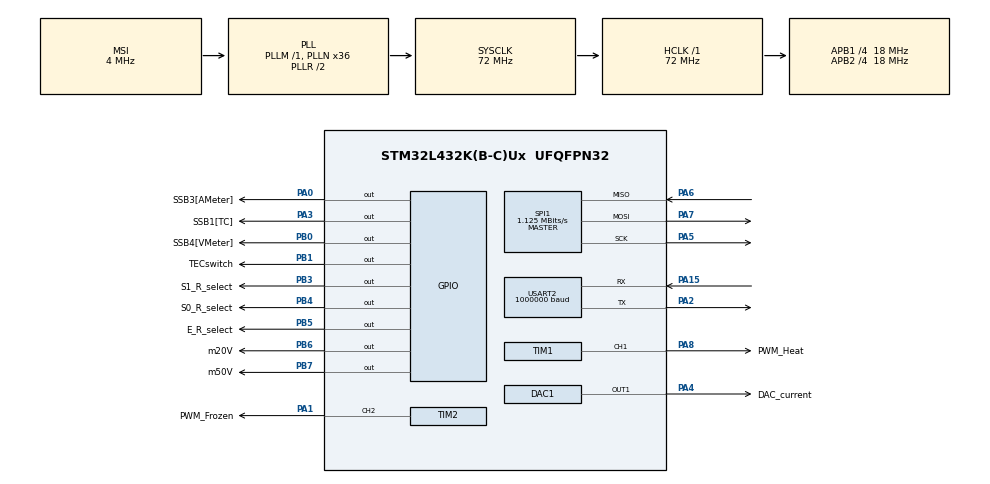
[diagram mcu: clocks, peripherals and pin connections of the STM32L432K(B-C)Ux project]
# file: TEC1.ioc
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Mcu.Family=STM32L4
PA6.Mode=Full_Duplex_Master
RCC.CortexFreq_Value=72000000
SPI1.VirtualType=VM_MASTER
NVIC.TIM6_DAC_IRQn=true\:0\:0\:false\:false\:true\:true\:true
Dma.USART2_TX.1.MemInc=DMA_MINC_ENABLE
PA0.PinState=GPIO_PIN_SET
PA0.GPIO_Label=SSB3[AMeter]
PB0.GPIO_Label=SSB4[VMeter]
PB6.GPIO_Label=m20V
PB4\ (NJTRST).GPIO_Speed=GPIO_SPEED_FREQ_MEDIUM
PA15\ (JTDI).Signal=USART2_RX
TIM1.Pulse-PWM\ Generation1\ CH1=0
PC15-OSC32_OUT\ (PC15).Mode=LSE-External-Oscillator
TIM1.OCFastMode_PWM-PWM\ Generation1\ CH1=TIM_OCFAST_DISABLE
TIM2.Channel-PWM\ Generation2\ CH2=TIM_CHANNEL_2
PA3.GPIO_Speed=GPIO_SPEED_FREQ_HIGH
RCC.SYSCLKSource=RCC_SYSCLKSOURCE_PLLCLK
ProjectManager.StackSize=0x400
PB3\ (JTDO-TRACESWO).Signal=GPIO_Output
PC14-OSC32_IN\ (PC14).Mode=LSE-External-Oscillator
PA14\ (JTCK-SWCLK).Signal=SYS_JTCK-SWCLK
VP_TIM7_VS_ClockSourceINT.Mode=Enable_Timer
PA15\ (JTDI).Mode=Asynchronous
TIM1.Prescaler=61
PB0.PinState=GPIO_PIN_SET
Dma.USART2_RX.0.Priority=DMA_PRIORITY_MEDIUM
SPI1.Direction=SPI_DIRECTION_2LINES
Dma.USART2_RX.0.PeriphDataAlignment=DMA_PDATAALIGN_BYTE
RCC.HCLKFreq_Value=72000000
RCC.APB2TimFreq_Value=36000000
PB6.Signal=GPIO_Output
Dma.USART2_TX.1.Mode=DMA_NORMAL
SPI1.CalculateBaudRate=1.125 MBits/s
TIM7.Period=9999
RCC.AHBFreq_Value=72000000
RCC.HSE_VALUE=8000000
USART2.VirtualMode-Asynchronous=VM_ASYNC
RCC.PLLMUL=RCC_PLLMUL_4
Dma.USART2_RX.0.MemDataAlignment=DMA_MDATAALIGN_BYTE
TIM1.Channel-PWM\ Generation1\ CH1=TIM_CHANNEL_1
PB1.GPIO_Speed=GPIO_SPEED_FREQ_HIGH
Dma.USART2_TX.1.Instance=DMA1_Channel7
PB1.GPIO_Label=TECswitch
SPI1.DataSize=SPI_DATASIZE_8BIT
Dma.USART2_RX.0.Instance=DMA1_Channel6
PB7.Signal=GPIO_Output
PA8.Signal=S_TIM1_CH1
SPI1.FirstBit=SPI_FIRSTBIT_MSB
VP_TIM1_VS_ClockSourceINT.Mode=Internal
PA0.Signal=GPIO_Output
PB7.GPIO_Label=m50V
Mcu.Package=UFQFPN32
TIM2.Prescaler=61
PB1.Signal=GPIO_Output
PA6.Signal=SPI1_MISO
Dma.USART2_RX.0.PeriphInc=DMA_PINC_DISABLE
TIM7.AutoReloadPreload=TIM_AUTORELOAD_PRELOAD_ENABLE
TIM2.Pulse-PWM\ Generation2\ CH2=0
PB5.GPIO_Speed=GPIO_SPEED_FREQ_MEDIUM
RCC.APB2CLKDivider=RCC_HCLK_DIV4
PB5.GPIO_Label=E_R_select
Dma.Request1=USART2_TX
RCC.APB1TimFreq_Value=36000000
TIM1.Period=1023
PA13\ (JTMS-SWDIO).Signal=SYS_JTMS-SWDIO
Dma.Request0=USART2_RX
SPI1.BaudRatePrescaler=SPI_BAUDRATEPRESCALER_16
PA4.GPIO_Label=DAC_current
NVIC.TIM7_IRQn=true\:0\:0\:false\:false\:true\:true\:true
RCC.HSI48_VALUE=48000000
PA3.Signal=GPIO_Output
PA5.Mode=Full_Duplex_Master
PB7.GPIO_Speed=GPIO_SPEED_FREQ_MEDIUM
RCC.MSI_VALUE=4000000
PA14\ (JTCK-SWCLK).Mode=Serial_Wire
NVIC.DMA1_Channel6_IRQn=true\:0\:0\:false\:false\:true\:false\:true
Dma.USART2_TX.1.Priority=DMA_PRIORITY_MEDIUM
PA7.Mode=Full_Duplex_Master
Dma.USART2_RX.0.Direction=DMA_PERIPH_TO_MEMORY
PC15-OSC32_OUT\ (PC15).Signal=RCC_OSC32_OUT
PA14\ (JTCK-SWCLK).GPIO_Label=SWCLK
PB3\ (JTDO-TRACESWO).GPIO_Label=S1_R_select
RCC.APB1CLKDivider=RCC_HCLK_DIV4
Dma.USART2_TX.1.PeriphDataAlignment=DMA_PDATAALIGN_BYTE
NVIC.USART2_IRQn=true\:0\:0\:false\:false\:true\:true\:true
USART2.BaudRate=1000000
Dma.USART2_RX.0.Mode=DMA_NORMAL
PB0.GPIO_Speed=GPIO_SPEED_FREQ_HIGH
PA0.GPIO_Speed=GPIO_SPEED_FREQ_HIGH
RCC.HSI16_VALUE=16000000
SH.S_TIM2_CH2.0=TIM2_CH2,PWM Generation2 CH2
PA8.GPIO_Label=PWM_Heat
SH.S_TIM1_CH1.0=TIM1_CH1,PWM Generation1 CH1
ProjectManager.TargetToolchain=STM32CubeIDE
SH.COMP_DAC11_group.0=DAC1_OUT1,DAC_OUT1
PA1.Signal=S_TIM2_CH2
PA5.Signal=SPI1_SCK
Dma.USART2_TX.1.PeriphInc=DMA_PINC_DISABLE
TIM7.Prescaler=359
board=NUCLEO-L432KC
RCC.VCOOutputFreq_Value=144000000
NVIC.SPI1_IRQn=true\:0\:0\:false\:false\:true\:true\:true
Dma.USART2_TX.1.Direction=DMA_MEMORY_TO_PERIPH
RCC.APB2Freq_Value=18000000
PA13\ (JTMS-SWDIO).GPIO_Label=SWDIO
VP_TIM2_VS_ClockSourceINT.Mode=Internal
SPI1.Mode=SPI_MODE_MASTER
PA1.GPIO_Label=PWM_Frozen
TIM2.Period=1023
Mcu.Name=STM32L432K(B-C)Ux
Dma.USART2_RX.0.MemInc=DMA_MINC_ENABLE
SPI1.NSSPMode=SPI_NSS_PULSE_DISABLE
PA2.Signal=USART2_TX
PA13\ (JTMS-SWDIO).Mode=Serial_Wire
PA4.Signal=COMP_DAC11_group
RCC.SYSCLKFreq_VALUE=72000000
PB5.Signal=GPIO_Output
PC14-OSC32_IN\ (PC14).Signal=RCC_OSC32_IN
ProjectManager.HeapSize=0x200
RCC.HSI_VALUE=16000000
NVIC.PriorityGroup=NVIC_PRIORITYGROUP_4
RCC.PLLN=36
PA2.Mode=Asynchronous
TIM2.OCFastMode_PWM-PWM\ Generation2\ CH2=TIM_OCFAST_DISABLE
PA3.PinState=GPIO_PIN_SET
NVIC.DMA1_Channel7_IRQn=true\:0\:0\:false\:false\:true\:false\:true
PB4\ (NJTRST).GPIO_Label=S0_R_select
PB3\ (JTDO-TRACESWO).GPIO_Speed=GPIO_SPEED_FREQ_MEDIUM
Dma.USART2_TX.1.MemDataAlignment=DMA_MDATAALIGN_BYTE
PB6.GPIO_Speed=GPIO_SPEED_FREQ_MEDIUM
RCC.APB1Freq_Value=18000000
PB0.Signal=GPIO_Output
PA3.GPIO_Label=SSB1[TC]
PA7.Signal=SPI1_MOSI
PB4\ (NJTRST).Signal=GPIO_Output

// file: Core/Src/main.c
/* USER CODE BEGIN Header */
/**
  ******************************************************************************
  * @file           : main.c
  * @brief          : Main program body
  ******************************************************************************
  * @attention
  *
  * <h2><center>&copy; Copyright (c) 2021 STMicroelectronics.
  * All rights reserved.</center></h2>
  *
  * This software component is licensed by ST under BSD 3-Clause license,
  * the "License"; You may not use this file except in compliance with the
  * License. You may obtain a copy of the License at:
  *                        opensource.org/licenses/BSD-3-Clause
  *
  ******************************************************************************
  *Author: 		Andrey Tsymbalyuk aka Oerdna, 2021
  *Email: 		tsymbalyuk.andrej@yandex.ru
  *Education: 	Saint Petersburg Electrotechnical University "LETI"
  ******************************************************************************
  */
/* USER CODE END Header */
#include "main.h"

/* USER CODE BEGIN Includes */
#include <stdio.h>
/* USER CODE END Includes */

/* USER CODE BEGIN PD */
#define MIN_PWM_VALUE	0
#define MAX_PWM_VALUE 	900

#define SIZE_OF_RX_BUFFER 	4
#define SIZE_OF_TX_BUFFER 	32
/* USER CODE END PD */

DAC_HandleTypeDef hdac1;

SPI_HandleTypeDef hspi1;

TIM_HandleTypeDef htim1;
TIM_HandleTypeDef htim2;
TIM_HandleTypeDef htim7;

UART_HandleTypeDef huart2;
DMA_HandleTypeDef hdma_usart2_rx;
DMA_HandleTypeDef hdma_usart2_tx;

/* USER CODE BEGIN PV */
volatile uint8_t event_TEC;
volatile uint8_t event_RX;
//Communicate
volatile uint8_t str[SIZE_OF_TX_BUFFER] = {0};
volatile uint8_t rx_buffer[SIZE_OF_RX_BUFFER] = {0};
//Multiplexer
const uint16_t selectPins[2] = {S0_R_select_Pin, S1_R_select_Pin};
const uint16_t multpPins[2] = {m20V_Pin, m50V_Pin};
/* USER CODE END PV */

void SystemClock_Config(void);
static void MX_GPIO_Init(void);
static void MX_DMA_Init(void);
static void MX_DAC1_Init(void);
static void MX_SPI1_Init(void);
static void MX_TIM1_Init(void);
static void MX_TIM2_Init(void);
static void MX_USART2_UART_Init(void);
static void MX_TIM7_Init(void);
/* USER CODE BEGIN PFP */
static uint16_t MAX6675_READ_TERMO(SPI_HandleTypeDef *hspi);
static uint16_t MCP3201_READ(SPI_HandleTypeDef *hspi);
static int computePID(uint16_t input, uint16_t setpoint,
		float kp, float ki, float kd,
		int minOut, int maxOut);
static void selectMuxPin(int pins, uint16_t *s_pins);
/* USER CODE END PFP */

int main(void)
{
  /* USER CODE BEGIN 1 */

	//Measurement IV res
	uint16_t spi_mcp1;
	uint16_t spi_mcp2;
	uint8_t mode_multiplexer;
	uint8_t mode_multiplication;

	//Termo and TEC PID
	float kp = 22.84, ki = 2.25, kd = 3.38;
	int pulse_width;
	uint16_t pwm;
	uint16_t spi_termo;
	uint16_t termo_filtered;
	uint16_t termo_target = 120;

	//Event
	event_TEC = 0;
	event_RX = 0;

  /* USER CODE END 1 */

  /* MCU Configuration--------------------------------------------------------*/

  /* Reset of all peripherals, Initializes the Flash interface and the Systick. */
  HAL_Init();

  /* Configure the system clock */
  SystemClock_Config();

  /* Initialize all configured peripherals */
  MX_GPIO_Init();
  MX_DMA_Init();
  MX_DAC1_Init();
  MX_SPI1_Init();
  MX_TIM1_Init();
  MX_TIM2_Init();
  MX_USART2_UART_Init();
  MX_TIM7_Init();
  /* USER CODE BEGIN 2 */

  //Start PWM, channel 1 & 2
  HAL_TIM_PWM_Start(&htim1, TIM_CHANNEL_1);
  HAL_TIM_PWM_Start(&htim2, TIM_CHANNEL_2);

  //Set zero PWM to both channel
  __HAL_TIM_SET_COMPARE(&htim1, TIM_CHANNEL_1, 0);
  __HAL_TIM_SET_COMPARE(&htim2, TIM_CHANNEL_2, 0);

  //Disable OUTPUT channel Multiplexer's
  HAL_GPIO_WritePin(GPIOB, E_R_select_Pin, GPIO_PIN_SET);

  //Start DAC
  HAL_DAC_Start(&hdac1, DAC_CHANNEL_1);
  //Set DAC, 0V out
  HAL_DAC_SetValue(&hdac1, DAC_CHANNEL_1, DAC_ALIGN_12B_R, 0);

  //Start periodic event for TEC
  HAL_TIM_Base_Start_IT(&htim7);

  //Wait command from PC
  HAL_UART_Receive_DMA (&huart2, rx_buffer, SIZE_OF_RX_BUFFER);

  /* USER CODE END 2 */

  /* Infinite loop */
  /* USER CODE BEGIN WHILE */
  while (1)
  {
	  if (event_TEC == 2){

		  HAL_TIM_Base_Stop_IT(&htim7);
		  //Start critical section

		  //Reset event
		  event_TEC = 0;

	      HAL_GPIO_WritePin(GPIOA, SSB1_Pin, GPIO_PIN_RESET);
	      spi_termo = MAX6675_READ_TERMO(&hspi1);
	      HAL_GPIO_WritePin(GPIOA, SSB1_Pin, GPIO_PIN_SET);
	      //Low pass filter f_cut = 30 Hz
	      termo_filtered = (1 - 0.87) * termo_filtered + 0.87 * spi_termo;

	      //End critical section
	      HAL_TIM_Base_Start_IT(&htim7);

	      //Compute PID Output PWM
	      pulse_width = computePID(termo_filtered, termo_target,
	    		  kp, ki, kd,
				  -MAX_PWM_VALUE, MAX_PWM_VALUE);

	      //Set PWM value
	      if (pulse_width >= 0){
	    	  pwm = (uint16_t)pulse_width;
	    	  //Check First Frozen!
	    	  __HAL_TIM_SET_COMPARE(&htim2, TIM_CHANNEL_2, 0);
	    	  HAL_Delay(20);
	    	  __HAL_TIM_SET_COMPARE(&htim1, TIM_CHANNEL_1, pwm);
	      }
	      if (pulse_width < 0){
	    	  pwm = (uint16_t)abs(pulse_width);
	    	  //Check First Heat!
	    	  __HAL_TIM_SET_COMPARE(&htim1, TIM_CHANNEL_1, 0);
	    	  HAL_Delay(20);
	    	  __HAL_TIM_SET_COMPARE(&htim2, TIM_CHANNEL_2, pwm);
	      }
	      /*	Debug section
	      char debug[32] = {0};
	      sprintf(debug, "TC termo: %d\r\n", termo_filtered);
		  HAL_UART_Transmit(&huart2, (char*) debug, sizeof(debug),10);
		  */
	  }
	  // Receive body
	  if (event_RX == 1){
		  event_RX = 0;
	      HAL_UART_Transmit(&huart2, "Rx_OK!\r\n", sizeof("Rx_OK!\r\n"), 10);
	      HAL_Delay(1);

	      /*
	       *	Receive commands are divided into:
	       *
	       *	'1' - Enable|Disable pin PWM TEC,
	       *
	       *	'2' - Send|Set temperature,
	       *
	       *	'3' - Enable|Disable pins for measurement,
	       *
	       *	'4' - Manage measurement,
	       *
	       *	'5' - Take measurement,
	       *
	       *	'other' - Error handler;
	       */

	      switch (rx_buffer[0]){
	      	  case '1':
	      		  /*	Enable|Disable pin PWM TEC;
	      		   *	In this case available command:
	      		   *
	      		   *	'y' - ENABLE PID Termo control,
	      		   *		CALLED by the 2 byte in Receive array,
	      		   *		SET PIN TECswitch_Pin,
	      		   *		RETURN COMPLETE Response - 'TEC_PIN_SET';
	      		   *
	      		   *	'n' - DISABLE PID Termo control,
	      		   *		CALLED by the 2 byte in Receive array,
	      		   *		RESET PIN TECswitch_Pin,
	      		   *		RETURN COMPLETE Response - 'TEC_PIN_RESET';
	      		   *
	      		   *	'r' - READ and SEND PWM value,
	      		   *		CALLED by the 3 byte in Receive array,
	      		   *		RETURN PWM_TEC 'dddd',
		    	   * 		dddd - value of width of PWM in ASCII,
		    	   * 		It CALL immediately after switch Termo control;
	      		   */
		    	  if (rx_buffer[1] == 'y'){
		    		  HAL_GPIO_WritePin(GPIOB, TECswitch_Pin, GPIO_PIN_SET);
		    		  HAL_UART_Transmit(&huart2, "TEC_PIN: SET\r\n", sizeof("TEC_PIN: SET\r\n"),10);
		    	  } else if (rx_buffer[1] == 'n'){
		    		  HAL_GPIO_WritePin(GPIOB, TECswitch_Pin, GPIO_PIN_RESET);
		    		  HAL_UART_Transmit(&huart2, "TEC_PIN: RESET\r\n", sizeof("TEC_PIN: RESET\r\n"),10);
		    	  }
		    	  if (rx_buffer[2] == 'r'){
		    		  memset(str, 0, sizeof(str));
		    		  sprintf(str, "PWM_TEC: %d\r\n", pulse_width);
		    		  HAL_UART_Transmit(&huart2, str, sizeof(str),10);
		    	  }
		    	  break;

	      	  case '2':
		    	  /*	Send|Set temperature;
		    	   * 	In this case available command:
		    	   *
		    	   * 	'r' - READ and SEND termo value,
		    	   * 		CALLED by the 2 byte in Receive array
		    	   * 		RETURN TC_Termo 'ddd',
		    	   * 		ddd - raw temperature from sensor MAX6675 in ASCII,
		    	   * 		CONVERT ddd to celsius: T celsius  = ddd/4;
		    	   *
		    	   * 	'c' - SET termo_target from COM console (aka PuTTy i.e.),
		    	   * 		CALLED by the 2 byte in Receive array
		    	   * 		SET by the last 2 ASCII byte converted to int,
		    	   * 		RECEIVE in CELSIUS M + L BYTE in ASCII,
		    	   * 		RANGE in Celsius: 1 : 95,
		    	   * 		RETURN COMPLETE Response - TC_set,
		    	   * 		Exmpl: receive 0x'2' 'c' '3' '0' - set target 30 celsius;
		    	   *
		    	   * 	'x' - SET termp_targe by any other methods (Python i.e.),
		    	   * 		CALLED by the 2 byte in Receive array
		    	   * 		SET by the uint16_t,
		    	   * 		RECEIVE in RAW TERMO (celsius *4) M + L BYTE,
		    	   * 		RANGE in RAW: 1 : 380,
		    	   * 		RETURN COMPLETE Response - TC_set,
		    	   * 		Exmpl: receive 0x32 78 01 68 - set target 90 celsius;
		    	   */
	      		  memset(str, 0, sizeof(str));
	      		  uint16_t new_termo;
	      		  if (rx_buffer[1] == 'r'){
	      			  sprintf(str, "TC_termo: %d\r\n", termo_filtered);
	      			  HAL_UART_Transmit(&huart2, str, sizeof(str),10);
	      			  break;
	      		  } else if (rx_buffer[1] == 'c'){
	      			  new_termo = atoi(rx_buffer+2);
	      			  new_termo = 4 * new_termo;
	      		  } else if (rx_buffer[1] == 'x'){
	      			  new_termo = ((uint16_t) rx_buffer[2] << 8) | rx_buffer[3];
	      		  }
      			  if (new_termo < 1) {
      				  sprintf(str, "TC_set: FAIL below zero!\r\n");
      			  } else if (new_termo > 380) {
      				  sprintf(str, "TC_set: FAIL extreme heat!\r\n");
      			  } else {
      				termo_target = new_termo;
      				sprintf(str, "TC_set: %d\r\n", termo_target);
      			  }
	      		  HAL_UART_Transmit(&huart2, str, sizeof(str),10);
			      break;

	      	  case '3':
	      		  /*	Enable|Disable pin for measurement;
	      		   *	In this case available command:
	      		   *
	      		   *	'y' - ENABLE Measurement,
	      		   *		CALLED by the 2 byte in Receive array,
	      		   *		RESET PIN E_R_select_Pin,
	      		   *		RETURN COMPLETE Response - '4P_PIN_RESET';
	      		   *
	      		   *	'n' - DISABLE Measurement,
	      		   *		CALLED by the 2 byte in Receive array,
	      		   *		SET PIN E_R_select_Pin,
	      		   *		RETURN COMPLETE Response - '4P_PIN_SET';
	      		   *
	      		   *	'i' - CHANGE Output current source:
	      		   *		CALLED by the 2 byte in Receive array,
	      		   *		SET 2 PINS to configured max current amplifier,
	      		   *		'c' - 3 byte's from console, using ASCII
	      		   *		'x' - 3 byte's uint8_t
	      		   *		4 mode connect serial resistor:
	      		   *			0 - 10 Ohm,
	      		   *			1 - 1kOhm,
	      		   *			2 - 100kOhm,
	      		   *			3 - 1MOhm;
	      		   *
	      		   *	'v' - CHANGE Multiplication:
	      		   *		CALLED by the 2 byte in Receive array,
	      		   *		SET ONE FROM 2 PINS to configured amplifier signal,
	      		   *		'c' - 3 byte's from console, using ASCII
	      		   *		'x' - 3 byte's uint8_t
	      		   *		3 mode multiplication:
	      		   *			0 - x1,
	      		   *			1 - x20,
	      		   *			2 - x50;
	      		   */
	      		memset(str, 0, sizeof(str));
	      		int multi, multpli;
	      		if (rx_buffer[1] == 'y'){	//Enable
	      			HAL_GPIO_WritePin(GPIOB, E_R_select_Pin, GPIO_PIN_RESET);
	      			HAL_UART_Transmit(&huart2, "4P_PIN: RESET\r\n", sizeof("4P_PIN: RESET\r\n"),10);
	      		} else if (rx_buffer[1] == 'n'){	//Disable
	      			HAL_GPIO_WritePin(GPIOB, E_R_select_Pin, GPIO_PIN_SET);
	      			HAL_UART_Transmit(&huart2, "4P_PIN: SET\r\n", sizeof("4P_PIN: SET\r\n"),10);
	      		} else if (rx_buffer[1] == 'i'){	//Change Output
	      			if (rx_buffer[2] == 'c'){
	      				multi = atoi(rx_buffer+3);
	      			} else if (rx_buffer[2] == 'x'){
	      				multi = rx_buffer[3];
	      			}
      				if (!(multi >= 0 && multi <= 3)){
      					sprintf(str, "4P_I_set: FAIL unk output!\r\n");
      				} else {
      					selectMuxPin(multi, selectPins);
      					mode_multiplexer = multi;
    	      			HAL_Delay(1);
      					sprintf(str, "4P_I_set: %d!\r\n", multi);
      				}
      				HAL_UART_Transmit(&huart2, str, sizeof(str),10);
	      		} else if (rx_buffer[1] == 'v'){	//Change Multiplication
	      			if (rx_buffer[2] == 'c'){
	      				multpli = atoi(rx_buffer+3);
	      			} else if (rx_buffer[2] == 'x'){
	      				multpli = rx_buffer[3];
	      			}
      				if (!(multpli >= 0 && multpli <= 2)){
      					sprintf(str, "4P_V_set: FAIL unk Multiplication!\r\n");
      				} else{
      					selectMuxPin(multpli, multpPins);
      					mode_multiplication = multpli;
    	      			HAL_Delay(1);
      					sprintf(str, "4P_V_set: %d!\r\n", multpli);
      				}
      				HAL_UART_Transmit(&huart2, str, sizeof(str),10);
	      		}
	      		break;

	      	  case '4':
	      		  /*	Manage measurement;
	      		   *	In this case available command:
	      		   *
	      		   *	'c' - set current by the DAC from console:
		    	   * 		CALLED by the 2 byte in Receive array
		    	   * 		SET by the last 2 ASCII byte converted to int,
		    	   * 		RECEIVE in Volt M + L BYTE in ASCII,
		    	   * 		RANGE in Volt: 0 : 33,
		    	   * 		RETURN COMPLETE Response - DAC_set,
		    	   * 		Exmpl: receive 0x'2' 'c' '3' '0' - set dac 3V;
		    	   * 			      		   *
	      		   *	'x' - SET current by the DAC uint8_t:
	      		   *		CALLED by the 2 byte in Receive array,
	      		   *		SET by the uint16_t,
	      		   *		RECEIVE in RAW 12 bits,
	      		   *		RANGE in RAW: 0: 4095,
	      		   *		RETURN COMPLETE Response - DAC_set,
	      		   *		Exmpl: receive 0x34 78 04 00 - set dac 1024 ~ 0.82V;
	      		   */
	      		  memset(str, 0, sizeof(str));
	      		  int dac;
	      		  if (rx_buffer[1] == 'c'){
	      			  dac = atoi(rx_buffer+2);
	      			  dac = 124 * dac;
	      		  } else if (rx_buffer[1] == 'x'){
	      			  dac = ((uint32_t) rx_buffer[2] << 8) | rx_buffer[3];
	      		  }
	      		  if (!(dac >= 0 && dac <= 4095)){
	      			  sprintf(str, "DAC_set: FAIL impossible value!\r\n");
	      		  } else{
	      			  HAL_DAC_SetValue(&hdac1, DAC_CHANNEL_1, DAC_ALIGN_12B_R, dac);
	      			  sprintf(str, "DAC_set: %d\r\n", dac);
	      		  }
	      		  HAL_UART_Transmit(&huart2, str, sizeof(str),10);
	      		  break;

	      	  case '5':
	      		  /*	Take measurement;
	      		   * 	In this case available command:
	      		   *
	      		   * 	'o' - One shot mode:
	      		   * 		Measurement current and voltage from probes,
	      		   * 		RETURN 2 Message,
	      		   * 		1 MESSAGE ADC_Ammeter, and Mode,
	      		   * 		2's MESSAGE ADC_Voltmeter, and Mode,
	      		   *		Calculate: R = (ADC_Voltmeter/ADC_Ammeter)*
	      		   *			*(R_mode_Ammeter/ K_mode_multiplication);
	      		   *
	      		   *	'a' - Measurement multiple dimensions:
	      		   *		More useful algorithm which search optimal
	      		   *		DAC value and Modes for measurement resistance;
	      		   */
	      		  memset(str, 0, sizeof(str));
	      		  if (rx_buffer[1] == 'o'){

					  //Read SPI Ammeter
					  HAL_GPIO_WritePin(GPIOA, SSB3_Pin, GPIO_PIN_RESET);
					  spi_mcp1 = MCP3201_READ(&hspi1);
					  HAL_GPIO_WritePin(GPIOA, SSB3_Pin, GPIO_PIN_SET);

					  //Read SPI Voltmeter
					  HAL_GPIO_WritePin(SSB4_GPIO_Port, SSB4_Pin, GPIO_PIN_RESET);
					  spi_mcp2 = MCP3201_READ(&hspi1);
					  HAL_GPIO_WritePin(SSB4_GPIO_Port, SSB4_Pin, GPIO_PIN_SET);

					  sprintf(str, "ADC_Ammeter: %d, Mode: %d\r\n", spi_mcp1, mode_multiplexer);
					  HAL_UART_Transmit(&huart2, str, sizeof(str),10);
					  sprintf(str, "ADC_Voltmeter: %d, Mode: %d\r\n", spi_mcp2, mode_multiplication);
					  HAL_UART_Transmit(&huart2, str, sizeof(str),10);
	      		  } else if (rx_buffer[1] == 'a'){

	      		  }
	      		  break;

	      	  default:
	      		  /*	Error handler;	*/
	      		  HAL_UART_Transmit(&huart2, "Unk COMMAND\r\n", sizeof("Unk COMMAND\r\n"),10);

	      }
	  }

    /* USER CODE END WHILE */

  }
}

void SystemClock_Config(void)
{
  RCC_OscInitTypeDef RCC_OscInitStruct = {0};
  RCC_ClkInitTypeDef RCC_ClkInitStruct = {0};
  RCC_PeriphCLKInitTypeDef PeriphClkInit = {0};

  /** Configure LSE Drive Capability
  */
  HAL_PWR_EnableBkUpAccess();
  __HAL_RCC_LSEDRIVE_CONFIG(RCC_LSEDRIVE_LOW);
  /** Initializes the RCC Oscillators according to the specified parameters
  * in the RCC_OscInitTypeDef structure.
  */
  RCC_OscInitStruct.OscillatorType = RCC_OSCILLATORTYPE_LSE|RCC_OSCILLATORTYPE_MSI;
  RCC_OscInitStruct.LSEState = RCC_LSE_ON;
  RCC_OscInitStruct.MSIState = RCC_MSI_ON;
  RCC_OscInitStruct.MSICalibrationValue = 0;
  RCC_OscInitStruct.MSIClockRange = RCC_MSIRANGE_6;
  RCC_OscInitStruct.PLL.PLLState = RCC_PLL_ON;
  RCC_OscInitStruct.PLL.PLLSource = RCC_PLLSOURCE_MSI;
  RCC_OscInitStruct.PLL.PLLM = 1;
  RCC_OscInitStruct.PLL.PLLN = 36;
  RCC_OscInitStruct.PLL.PLLP = RCC_PLLP_DIV7;
  RCC_OscInitStruct.PLL.PLLQ = RCC_PLLQ_DIV2;
  RCC_OscInitStruct.PLL.PLLR = RCC_PLLR_DIV2;
  if (HAL_RCC_OscConfig(&RCC_OscInitStruct) != HAL_OK)
  {
    Error_Handler();
  }
  /** Initializes the CPU, AHB and APB buses clocks
  */
  RCC_ClkInitStruct.ClockType = RCC_CLOCKTYPE_HCLK|RCC_CLOCKTYPE_SYSCLK
                              |RCC_CLOCKTYPE_PCLK1|RCC_CLOCKTYPE_PCLK2;
  RCC_ClkInitStruct.SYSCLKSource = RCC_SYSCLKSOURCE_PLLCLK;
  RCC_ClkInitStruct.AHBCLKDivider = RCC_SYSCLK_DIV1;
  RCC_ClkInitStruct.APB1CLKDivider = RCC_HCLK_DIV4;
  RCC_ClkInitStruct.APB2CLKDivider = RCC_HCLK_DIV4;

  if (HAL_RCC_ClockConfig(&RCC_ClkInitStruct, FLASH_LATENCY_4) != HAL_OK)
  {
    Error_Handler();
  }
  PeriphClkInit.PeriphClockSelection = RCC_PERIPHCLK_USART2;
  PeriphClkInit.Usart2ClockSelection = RCC_USART2CLKSOURCE_PCLK1;
  if (HAL_RCCEx_PeriphCLKConfig(&PeriphClkInit) != HAL_OK)
  {
    Error_Handler();
  }
  /** Configure the main internal regulator output voltage
  */
  if (HAL_PWREx_ControlVoltageScaling(PWR_REGULATOR_VOLTAGE_SCALE1) != HAL_OK)
  {
    Error_Handler();
  }
  /** Enable MSI Auto calibration
  */
  HAL_RCCEx_EnableMSIPLLMode();
}

static void MX_DAC1_Init(void)
{

  DAC_ChannelConfTypeDef sConfig = {0};

  /** DAC Initialization
  */
  hdac1.Instance = DAC1;
  if (HAL_DAC_Init(&hdac1) != HAL_OK)
  {
    Error_Handler();
  }
  /** DAC channel OUT1 config
  */
  sConfig.DAC_SampleAndHold = DAC_SAMPLEANDHOLD_DISABLE;
  sConfig.DAC_Trigger = DAC_TRIGGER_NONE;
  sConfig.DAC_OutputBuffer = DAC_OUTPUTBUFFER_ENABLE;
  sConfig.DAC_ConnectOnChipPeripheral = DAC_CHIPCONNECT_DISABLE;
  sConfig.DAC_UserTrimming = DAC_TRIMMING_FACTORY;
  if (HAL_DAC_ConfigChannel(&hdac1, &sConfig, DAC_CHANNEL_1) != HAL_OK)
  {
    Error_Handler();
  }

}

static void MX_SPI1_Init(void)
{

  /* SPI1 parameter configuration*/
  hspi1.Instance = SPI1;
  hspi1.Init.Mode = SPI_MODE_MASTER;
  hspi1.Init.Direction = SPI_DIRECTION_2LINES;
  hspi1.Init.DataSize = SPI_DATASIZE_8BIT;
  hspi1.Init.CLKPolarity = SPI_POLARITY_LOW;
  hspi1.Init.CLKPhase = SPI_PHASE_1EDGE;
  hspi1.Init.NSS = SPI_NSS_SOFT;
  hspi1.Init.BaudRatePrescaler = SPI_BAUDRATEPRESCALER_16;
  hspi1.Init.FirstBit = SPI_FIRSTBIT_MSB;
  hspi1.Init.TIMode = SPI_TIMODE_DISABLE;
  hspi1.Init.CRCCalculation = SPI_CRCCALCULATION_DISABLE;
  hspi1.Init.CRCPolynomial = 7;
  hspi1.Init.CRCLength = SPI_CRC_LENGTH_DATASIZE;
  hspi1.Init.NSSPMode = SPI_NSS_PULSE_DISABLE;
  if (HAL_SPI_Init(&hspi1) != HAL_OK)
  {
    Error_Handler();
  }

}

static void MX_TIM1_Init(void)
{

  TIM_ClockConfigTypeDef sClockSourceConfig = {0};
  TIM_MasterConfigTypeDef sMasterConfig = {0};
  TIM_OC_InitTypeDef sConfigOC = {0};
  TIM_BreakDeadTimeConfigTypeDef sBreakDeadTimeConfig = {0};

  htim1.Instance = TIM1;
  htim1.Init.Prescaler = 61;
  htim1.Init.CounterMode = TIM_COUNTERMODE_UP;
  htim1.Init.Period = 1023;
  htim1.Init.ClockDivision = TIM_CLOCKDIVISION_DIV1;
  htim1.Init.RepetitionCounter = 0;
  htim1.Init.AutoReloadPreload = TIM_AUTORELOAD_PRELOAD_DISABLE;
  if (HAL_TIM_Base_Init(&htim1) != HAL_OK)
  {
    Error_Handler();
  }
  sClockSourceConfig.ClockSource = TIM_CLOCKSOURCE_INTERNAL;
  if (HAL_TIM_ConfigClockSource(&htim1, &sClockSourceConfig) != HAL_OK)
  {
    Error_Handler();
  }
  if (HAL_TIM_PWM_Init(&htim1) != HAL_OK)
  {
    Error_Handler();
  }
  sMasterConfig.MasterOutputTrigger = TIM_TRGO_RESET;
  sMasterConfig.MasterOutputTrigger2 = TIM_TRGO2_RESET;
  sMasterConfig.MasterSlaveMode = TIM_MASTERSLAVEMODE_DISABLE;
  if (HAL_TIMEx_MasterConfigSynchronization(&htim1, &sMasterConfig) != HAL_OK)
  {
    Error_Handler();
  }
  sConfigOC.OCMode = TIM_OCMODE_PWM1;
  sConfigOC.Pulse = 0;
  sConfigOC.OCPolarity = TIM_OCPOLARITY_HIGH;
  sConfigOC.OCNPolarity = TIM_OCNPOLARITY_HIGH;
  sConfigOC.OCFastMode = TIM_OCFAST_DISABLE;
  sConfigOC.OCIdleState = TIM_OCIDLESTATE_RESET;
  sConfigOC.OCNIdleState = TIM_OCNIDLESTATE_RESET;
  if (HAL_TIM_PWM_ConfigChannel(&htim1, &sConfigOC, TIM_CHANNEL_1) != HAL_OK)
  {
    Error_Handler();
  }
  sBreakDeadTimeConfig.OffStateRunMode = TIM_OSSR_DISABLE;
  sBreakDeadTimeConfig.OffStateIDLEMode = TIM_OSSI_DISABLE;
  sBreakDeadTimeConfig.LockLevel = TIM_LOCKLEVEL_OFF;
  sBreakDeadTimeConfig.DeadTime = 0;
  sBreakDeadTimeConfig.BreakState = TIM_BREAK_DISABLE;
  sBreakDeadTimeConfig.BreakPolarity = TIM_BREAKPOLARITY_HIGH;
  sBreakDeadTimeConfig.BreakFilter = 0;
  sBreakDeadTimeConfig.Break2State = TIM_BREAK2_DISABLE;
  sBreakDeadTimeConfig.Break2Polarity = TIM_BREAK2POLARITY_HIGH;
  sBreakDeadTimeConfig.Break2Filter = 0;
  sBreakDeadTimeConfig.AutomaticOutput = TIM_AUTOMATICOUTPUT_DISABLE;
  if (HAL_TIMEx_ConfigBreakDeadTime(&htim1, &sBreakDeadTimeConfig) != HAL_OK)
  {
    Error_Handler();
  }
  HAL_TIM_MspPostInit(&htim1);

}

static void MX_TIM2_Init(void)
{

  TIM_ClockConfigTypeDef sClockSourceConfig = {0};
  TIM_MasterConfigTypeDef sMasterConfig = {0};
  TIM_OC_InitTypeDef sConfigOC = {0};

  htim2.Instance = TIM2;
  htim2.Init.Prescaler = 61;
  htim2.Init.CounterMode = TIM_COUNTERMODE_UP;
  htim2.Init.Period = 1023;
  htim2.Init.ClockDivision = TIM_CLOCKDIVISION_DIV1;
  htim2.Init.AutoReloadPreload = TIM_AUTORELOAD_PRELOAD_DISABLE;
  if (HAL_TIM_Base_Init(&htim2) != HAL_OK)
  {
    Error_Handler();
  }
  sClockSourceConfig.ClockSource = TIM_CLOCKSOURCE_INTERNAL;
  if (HAL_TIM_ConfigClockSource(&htim2, &sClockSourceConfig) != HAL_OK)
  {
    Error_Handler();
  }
  if (HAL_TIM_PWM_Init(&htim2) != HAL_OK)
  {
    Error_Handler();
  }
  sMasterConfig.MasterOutputTrigger = TIM_TRGO_RESET;
  sMasterConfig.MasterSlaveMode = TIM_MASTERSLAVEMODE_DISABLE;
  if (HAL_TIMEx_MasterConfigSynchronization(&htim2, &sMasterConfig) != HAL_OK)
  {
    Error_Handler();
  }
  sConfigOC.OCMode = TIM_OCMODE_PWM1;
  sConfigOC.Pulse = 0;
  sConfigOC.OCPolarity = TIM_OCPOLARITY_HIGH;
  sConfigOC.OCFastMode = TIM_OCFAST_DISABLE;
  if (HAL_TIM_PWM_ConfigChannel(&htim2, &sConfigOC, TIM_CHANNEL_2) != HAL_OK)
  {
    Error_Handler();
  }
  HAL_TIM_MspPostInit(&htim2);

}

static void MX_TIM7_Init(void)
{

  TIM_MasterConfigTypeDef sMasterConfig = {0};

  htim7.Instance = TIM7;
  htim7.Init.Prescaler = 359;
  htim7.Init.CounterMode = TIM_COUNTERMODE_UP;
  htim7.Init.Period = 9999;
  htim7.Init.AutoReloadPreload = TIM_AUTORELOAD_PRELOAD_ENABLE;
  if (HAL_TIM_Base_Init(&htim7) != HAL_OK)
  {
    Error_Handler();
  }
  sMasterConfig.MasterOutputTrigger = TIM_TRGO_RESET;
  sMasterConfig.MasterSlaveMode = TIM_MASTERSLAVEMODE_DISABLE;
  if (HAL_TIMEx_MasterConfigSynchronization(&htim7, &sMasterConfig) != HAL_OK)
  {
    Error_Handler();
  }

}

static void MX_USART2_UART_Init(void)
{

  huart2.Instance = USART2;
  huart2.Init.BaudRate = 1000000;
  huart2.Init.WordLength = UART_WORDLENGTH_8B;
  huart2.Init.StopBits = UART_STOPBITS_1;
  huart2.Init.Parity = UART_PARITY_NONE;
  huart2.Init.Mode = UART_MODE_TX_RX;
  huart2.Init.HwFlowCtl = UART_HWCONTROL_NONE;
  huart2.Init.OverSampling = UART_OVERSAMPLING_16;
  huart2.Init.OneBitSampling = UART_ONE_BIT_SAMPLE_DISABLE;
  huart2.AdvancedInit.AdvFeatureInit = UART_ADVFEATURE_NO_INIT;
  if (HAL_UART_Init(&huart2) != HAL_OK)
  {
    Error_Handler();
  }

}

static void MX_DMA_Init(void)
{

  /* DMA controller clock enable */
  __HAL_RCC_DMA1_CLK_ENABLE();

  /* DMA interrupt init */
  /* DMA1_Channel6_IRQn interrupt configuration */
  HAL_NVIC_SetPriority(DMA1_Channel6_IRQn, 0, 0);
  HAL_NVIC_EnableIRQ(DMA1_Channel6_IRQn);
  /* DMA1_Channel7_IRQn interrupt configuration */
  HAL_NVIC_SetPriority(DMA1_Channel7_IRQn, 0, 0);
  HAL_NVIC_EnableIRQ(DMA1_Channel7_IRQn);

}

static void MX_GPIO_Init(void)
{
  GPIO_InitTypeDef GPIO_InitStruct = {0};

  /* GPIO Ports Clock Enable */
  __HAL_RCC_GPIOC_CLK_ENABLE();
  __HAL_RCC_GPIOA_CLK_ENABLE();
  __HAL_RCC_GPIOB_CLK_ENABLE();

  /*Configure GPIO pin Output Level */
  HAL_GPIO_WritePin(GPIOA, SSB3_Pin|SSB1_Pin, GPIO_PIN_SET);

  /*Configure GPIO pin Output Level */
  HAL_GPIO_WritePin(SSB4_GPIO_Port, SSB4_Pin, GPIO_PIN_SET);

  /*Configure GPIO pin Output Level */
  HAL_GPIO_WritePin(GPIOB, TECswitch_Pin|S1_R_select_Pin|S0_R_select_Pin|E_R_select_Pin
                          |m20V_Pin|m50V_Pin, GPIO_PIN_RESET);

  /*Configure GPIO pins : SSB3_Pin SSB1_Pin */
  GPIO_InitStruct.Pin = SSB3_Pin|SSB1_Pin;
  GPIO_InitStruct.Mode = GPIO_MODE_OUTPUT_PP;
  GPIO_InitStruct.Pull = GPIO_NOPULL;
  GPIO_InitStruct.Speed = GPIO_SPEED_FREQ_HIGH;
  HAL_GPIO_Init(GPIOA, &GPIO_InitStruct);

  /*Configure GPIO pins : SSB4_Pin TECswitch_Pin */
  GPIO_InitStruct.Pin = SSB4_Pin|TECswitch_Pin;
  GPIO_InitStruct.Mode = GPIO_MODE_OUTPUT_PP;
  GPIO_InitStruct.Pull = GPIO_NOPULL;
  GPIO_InitStruct.Speed = GPIO_SPEED_FREQ_HIGH;
  HAL_GPIO_Init(GPIOB, &GPIO_InitStruct);

  /*Configure GPIO pins : S1_R_select_Pin S0_R_select_Pin E_R_select_Pin m20V_Pin
                           m50V_Pin */
  GPIO_InitStruct.Pin = S1_R_select_Pin|S0_R_select_Pin|E_R_select_Pin|m20V_Pin
                          |m50V_Pin;
  GPIO_InitStruct.Mode = GPIO_MODE_OUTPUT_PP;
  GPIO_InitStruct.Pull = GPIO_NOPULL;
  GPIO_InitStruct.Speed = GPIO_SPEED_FREQ_MEDIUM;
  HAL_GPIO_Init(GPIOB, &GPIO_InitStruct);

}

/* USER CODE BEGIN 4 */
static uint16_t MAX6675_READ_TERMO(SPI_HandleTypeDef *hspi){
	//Conversion Time 0.2 s - Impotent
	//buffer
	uint8_t data[2];

	// For blocking tread:
	//while ((HAL_SPI_GetState(hspi) != HAL_SPI_STATE_READY));
	HAL_SPI_Receive(hspi, data, 2, 5);

	// convert uint8_t to uint16_t
	uint16_t res = ((uint16_t)data[0] << 8) | data[1];
	if (res & 4) return 0xFFFF;
	res >>= 3;
	return res;
}

static uint16_t MCP3201_READ(SPI_HandleTypeDef *hspi){
	//buffer
	uint8_t data[2];

	// For blocking tread:
	//while ((HAL_SPI_GetState(hspi) != HAL_SPI_STATE_READY));
	HAL_SPI_Receive(hspi, data, 2, 5);

	// convert uint8_t to uint16_t
	uint16_t res = ((uint16_t)data[0] << 8) | data[1];
	res >>= 1;
	return res & 0x0FFF;
}

static int computePID(uint16_t input, uint16_t setpoint,
		float kp, float ki, float kd,
		int minOut, int maxOut){

	static float I = 0, prevError = 0;

	// Compute all the working error variables
	float error = setpoint - input;

	// Integer part
	I = I + (prevError + error) / 2;
	if (I < minOut){
		I = (float) minOut;
	}
	if (I > maxOut){
		I = (float) maxOut;
	}

	// Derivative part
	float D = (error - prevError);

	// Remember some variables for next time
	prevError = error;

	// Compute PID Output
	int out_pid = (error * kp + I / ki + D * kd);
	if (out_pid < minOut) return minOut;
	if (out_pid > maxOut) return maxOut;
	return out_pid;
}

static void selectMuxPin(int pins, uint16_t *s_pins)
{
  for (int i=0; i < 2; i++)
  {
    if (pins & (1<<i))
      HAL_GPIO_WritePin(GPIOB, *(s_pins+i), GPIO_PIN_SET);
    else
      HAL_GPIO_WritePin(GPIOB, *(s_pins+i), GPIO_PIN_RESET);
  }
}

// Callback: timer has rolled over
void HAL_TIM_PeriodElapsedCallback(TIM_HandleTypeDef *htim)
{
  // Check which version of the timer triggered this callback and toggle LED
  if (htim == &htim7 )
  {
	  event_TEC++;
  }
}

void HAL_UART_RxCpltCallback (UART_HandleTypeDef * huart){

	event_RX++;
	HAL_UART_Receive_DMA (&huart2, rx_buffer, SIZE_OF_RX_BUFFER);

}

/* USER CODE END 4 */

void Error_Handler(void)
{
  __disable_irq();
  while (1)
  {
  }
}

/************************ (C) COPYRIGHT STMicroelectronics *****END OF FILE****/
